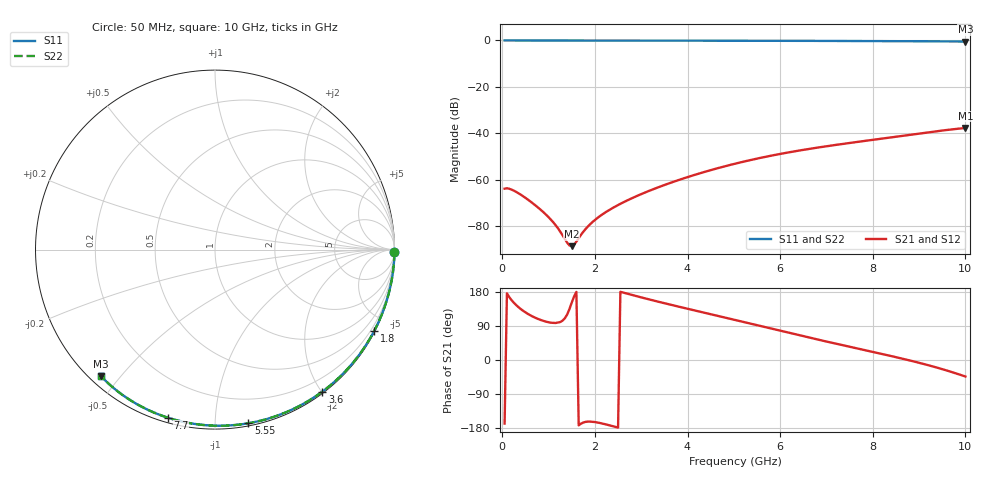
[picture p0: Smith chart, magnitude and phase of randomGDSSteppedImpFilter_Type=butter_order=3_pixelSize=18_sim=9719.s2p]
! freq	dB(S11)	phase(S11)	dB(S12)	phase(S12)
!  dB(S21)	phase(S21)	dB(S22)	phase(S22)
!S-par simulation data
#  GHz  S  DB  R 50
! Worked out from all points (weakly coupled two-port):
!   200 points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, 50 MHz to 10 GHz, reference 50 ohm
!   highest |S21| = -37.68 dB at 10 GHz (marker M1); lowest = -88.5 dB at 1.5 GHz (marker M2)
!   lowest |S11| = -0.5 dB at 10 GHz (marker M3), VSWR 38.07, Z = 1.57 - j22.2 ohm
!   |S11| at or under -10 dB: nowhere
!   |S22| runs from -0.5 to 0.0 dB; largest |S21 - S12| = 0
!   S11 on the Smith chart (normalised r, x): 50 MHz: open; 1.8 GHz: 0.04, -4.15; 3.6 GHz: 0.02, -2.01; 5.55 GHz: 0.02, -1.21; 7.7 GHz: 0.02, -0.76; 10 GHz: 0.03, -0.44
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0.05  -0.00 -0.8  -63.78 -167.8  -63.78 -167.8  -0.00 -0.8
0.2  -0.00 -3.1  -64.17 158.0  -64.17 158.0  -0.00 -3.1
0.5  -0.01 -7.6  -67.73 125.6  -67.73 125.6  -0.01 -7.6
0.9  -0.01 -13.7  -74.11 102.8  -74.11 102.8  -0.01 -13.7
1.15  -0.02 -17.4  -79.46 97.6  -79.46 97.6  -0.02 -17.4
1.2  -0.02 -18.2  -80.73 98.9  -80.73 98.9  -0.02 -18.2
1.5  -0.03 -22.6  -88.52 151.6  -88.52 151.6  -0.03 -22.6
1.75  -0.03 -26.3  -82.30 -164.9  -82.30 -164.9  -0.03 -26.3
1.8  -0.03 -27.1  -81.10 -163.2  -81.10 -163.2  -0.03 -27.1
1.85  -0.04 -27.8  -80.01 -162.6  -80.01 -162.6  -0.04 -27.8
2.1  -0.04 -31.5  -75.69 -166.0  -75.69 -166.0  -0.04 -31.5
2.45  -0.05 -36.6  -71.34 -176.7  -71.34 -176.7  -0.05 -36.6
2.85  -0.06 -42.3  -67.42 170.1  -67.42 170.1  -0.06 -42.3
3.4  -0.07 -50.1  -62.94 152.9  -62.94 152.9  -0.07 -50.1
3.6  -0.07 -52.9  -61.48 146.9  -61.48 146.9  -0.07 -52.9
4.3  -0.09 -62.6  -56.96 126.6  -56.96 126.6  -0.09 -62.6
5.05  -0.11 -72.6  -52.91 105.0  -52.91 105.0  -0.11 -72.6
5.55  -0.13 -79.1  -50.63 90.4  -50.63 90.4  -0.13 -79.1
6.7  -0.18 -93.6  -46.43 57.1  -46.43 57.1  -0.18 -93.6
7.7  -0.24 -105.7  -43.56 29.5  -43.56 29.5  -0.24 -105.7
8.35  -0.29 -113.4  -41.82 11.8  -41.82 11.8  -0.29 -113.4
10  -0.46 -132.0  -37.68 -43.6  -37.68 -43.6  -0.46 -132.0
